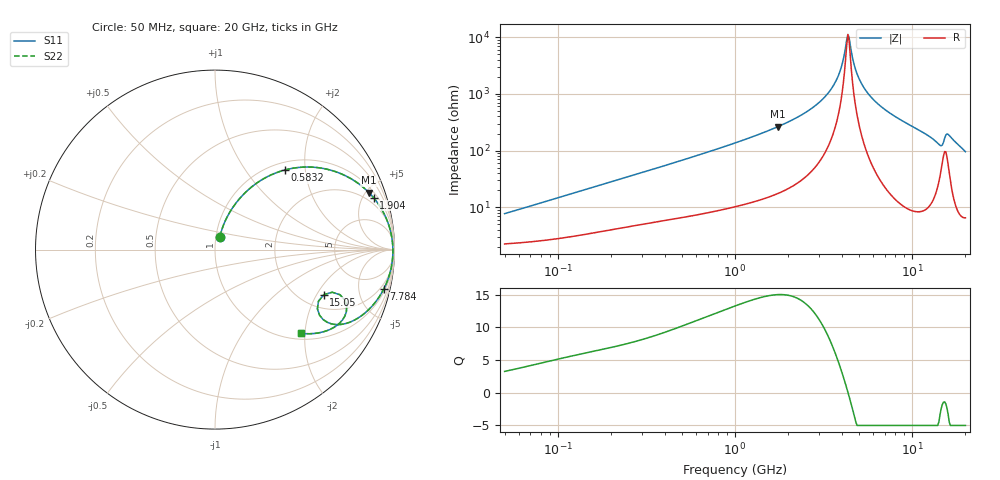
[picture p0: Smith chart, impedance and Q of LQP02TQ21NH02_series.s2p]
!Murata Part Number: LQP02TQ21NH02
!These Parameters are Measured in Series Mode Connection
!  o--[Z]--o
!Port1  Port2
!  o-------o
!Freq. Start=50[MHz] Stop=20[GHz], 401[Steps]
# Hz S RI R 50
!Freq.(Hz) S11(Real) S11(Imag) S21(Real) S21(Imag) S12(Real) S12(Imag) S22(Real) S22(Imag)
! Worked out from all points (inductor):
!   401 points, 50 MHz to 20 GHz, reference 50 ohm
!   read as one part in series: L = 23.4 nH near 51.52 MHz
!   highest Q = 15 at 1.741 GHz (marker M1), where L = 24 nH
!   self-resonance near 4.34 GHz
!   S11 on the Smith chart (normalised r, x): 50 MHz: 1.05, +0.15; 583.2 MHz: 1.14, +1.56; 1.904 GHz: 1.40, +5.95; 7.784 GHz: 1.30, -8.46; 15.05 GHz: 2.61, -2.30; 20 GHz: 1.13, -1.91
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5e7  0.0273 0.0706  0.9727 -0.0706  0.9727 -0.0706  0.0273 0.0706
1.364002e8  0.0649 0.1764  0.9351 -0.1764  0.9351 -0.1764  0.0649 0.1764
3.721004e8  0.2285 0.3677  0.7715 -0.3677  0.7715 -0.3677  0.2285 0.3677
5.831961e8  0.3905 0.444  0.6095 -0.444  0.6095 -0.444  0.3905 0.444
1e9  0.6403 0.4438  0.3597 -0.4438  0.3597 -0.4438  0.6403 0.4438
1.740566e9  0.8578 0.3175  0.1422 -0.3175  0.1422 -0.3175  0.8578 0.3175
1.904239e9  0.8835 0.2892  0.1165 -0.2892  0.1165 -0.2892  0.8835 0.2892
2.728004e9  0.9571 0.1669  0.0429 -0.1669  0.0429 -0.1669  0.9571 0.1669
3.265178e9  0.9778 0.1032  0.0222 -0.1032  0.0222 -0.1032  0.9778 0.1032
3.680849e9  0.9862 0.0603  0.0138 -0.0603  0.0138 -0.0603  0.9862 0.0603
3.967106e9  0.9894 0.0334  0.0106 -0.0334  0.0106 -0.0334  0.9894 0.0334
4.34015e9  0.9911 0.000819  0.00887 -0.000819  0.00887 -0.000819  0.9911 0.000819
4.472136e9  0.9912 -0.0101  0.0088 0.0101  0.0088 0.0101  0.9912 -0.0101
4.81993e9  0.9902 -0.0375  0.00976 0.0375  0.00976 0.0375  0.9902 -0.0375
5.273168e9  0.9869 -0.0707  0.0131 0.0707  0.0131 0.0707  0.9869 -0.0707
7.442007e9  0.9487 -0.2023  0.0513 0.2023  0.0513 0.2023  0.9487 -0.2023
7.784049e9  0.9401 -0.22  0.0599 0.22  0.0599 0.22  0.9401 -0.22
1.314879e10  0.702 -0.4169  0.298 0.4169  0.298 0.4169  0.702 -0.4169
1.438523e10  0.5822 -0.3651  0.4178 0.3651  0.4178 0.3651  0.5822 -0.3651
1.504638e10  0.6065 -0.2511  0.3935 0.2511  0.3935 0.2511  0.6065 -0.2511
1.646126e10  0.7231 -0.3712  0.2769 0.3712  0.2769 0.3712  0.7231 -0.3712
2e10  0.4798 -0.4665  0.5202 0.4665  0.5202 0.4665  0.4798 -0.4665
